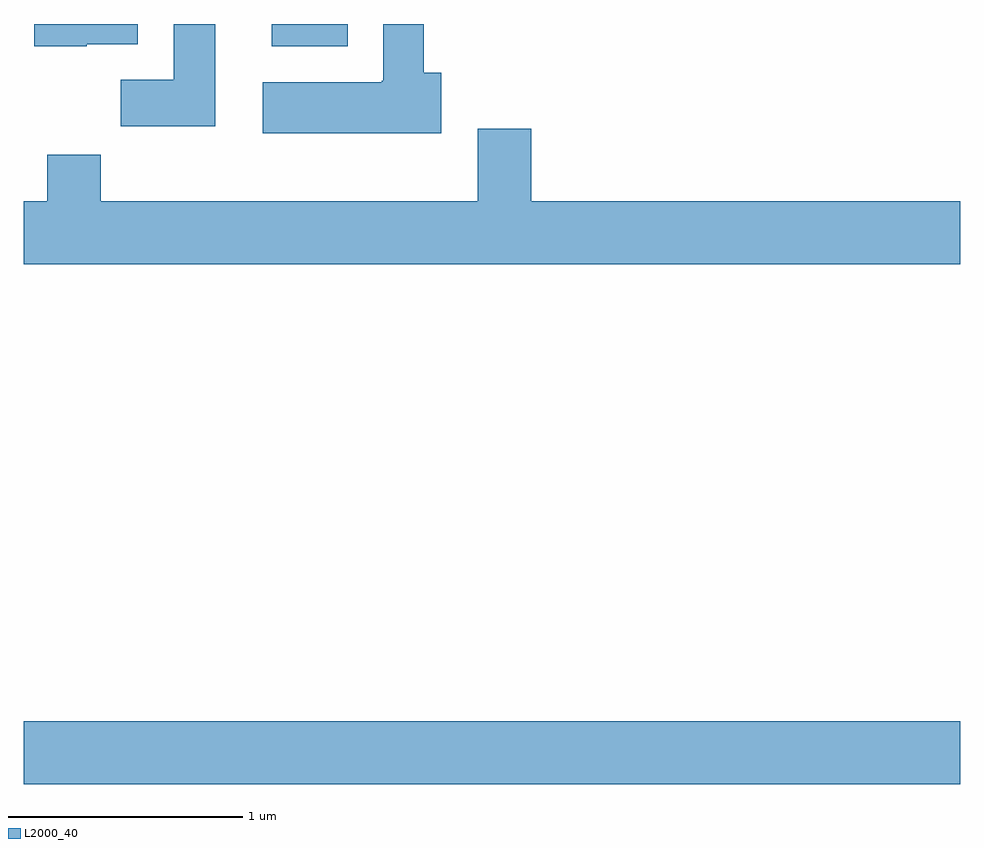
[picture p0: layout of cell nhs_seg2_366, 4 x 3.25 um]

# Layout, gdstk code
import gdstk
lib = gdstk.Library(unit=1e-6, precision=1e-09)
def R(c, l, rs):  # rectangles x0, y0, x1, y1
    for r in rs: c.add(gdstk.rectangle(r[:2], r[2:], *l))
def P(c, l, *ps):  # polygons
    for p in ps: c.add(gdstk.Polygon(p, *l))
L2000_40 = (2000, 40)

nhs_seg2_366 = lib.new_cell('nhs_seg2_366')
R(nhs_seg2_366, L2000_40, [(195.611,1030.556,199.611,1030.824), (196.671,1033.706,196.994,1033.802)])
P(nhs_seg2_366, L2000_40, [(196.429,1033.802),(196.251,1033.802),(196.251,1033.564),(196.026,1033.564),(196.026,1033.366),(196.429,1033.366)],
  [(195.88,1033.716),(196.099,1033.716),(196.099,1033.802),(195.656,1033.802),(195.656,1033.706),(195.88,1033.706)],
  [(197.394,1033.594),(197.319,1033.594),(197.319,1033.802),(197.146,1033.802),(197.146,1033.56),(197.14,1033.56),(197.14,1033.554),(196.631,1033.554),(196.631,1033.336),(197.394,1033.336)],
  [(199.611,1033.044),(197.779,1033.044),(197.779,1033.354),(197.551,1033.354),(197.551,1033.044),(195.939,1033.044),(195.939,1033.244),(195.711,1033.244),(195.711,1033.044),(195.611,1033.044),(195.611,1032.776),(199.611,1032.776)])

lib.write_gds('nhs_seg2_366.gds')
